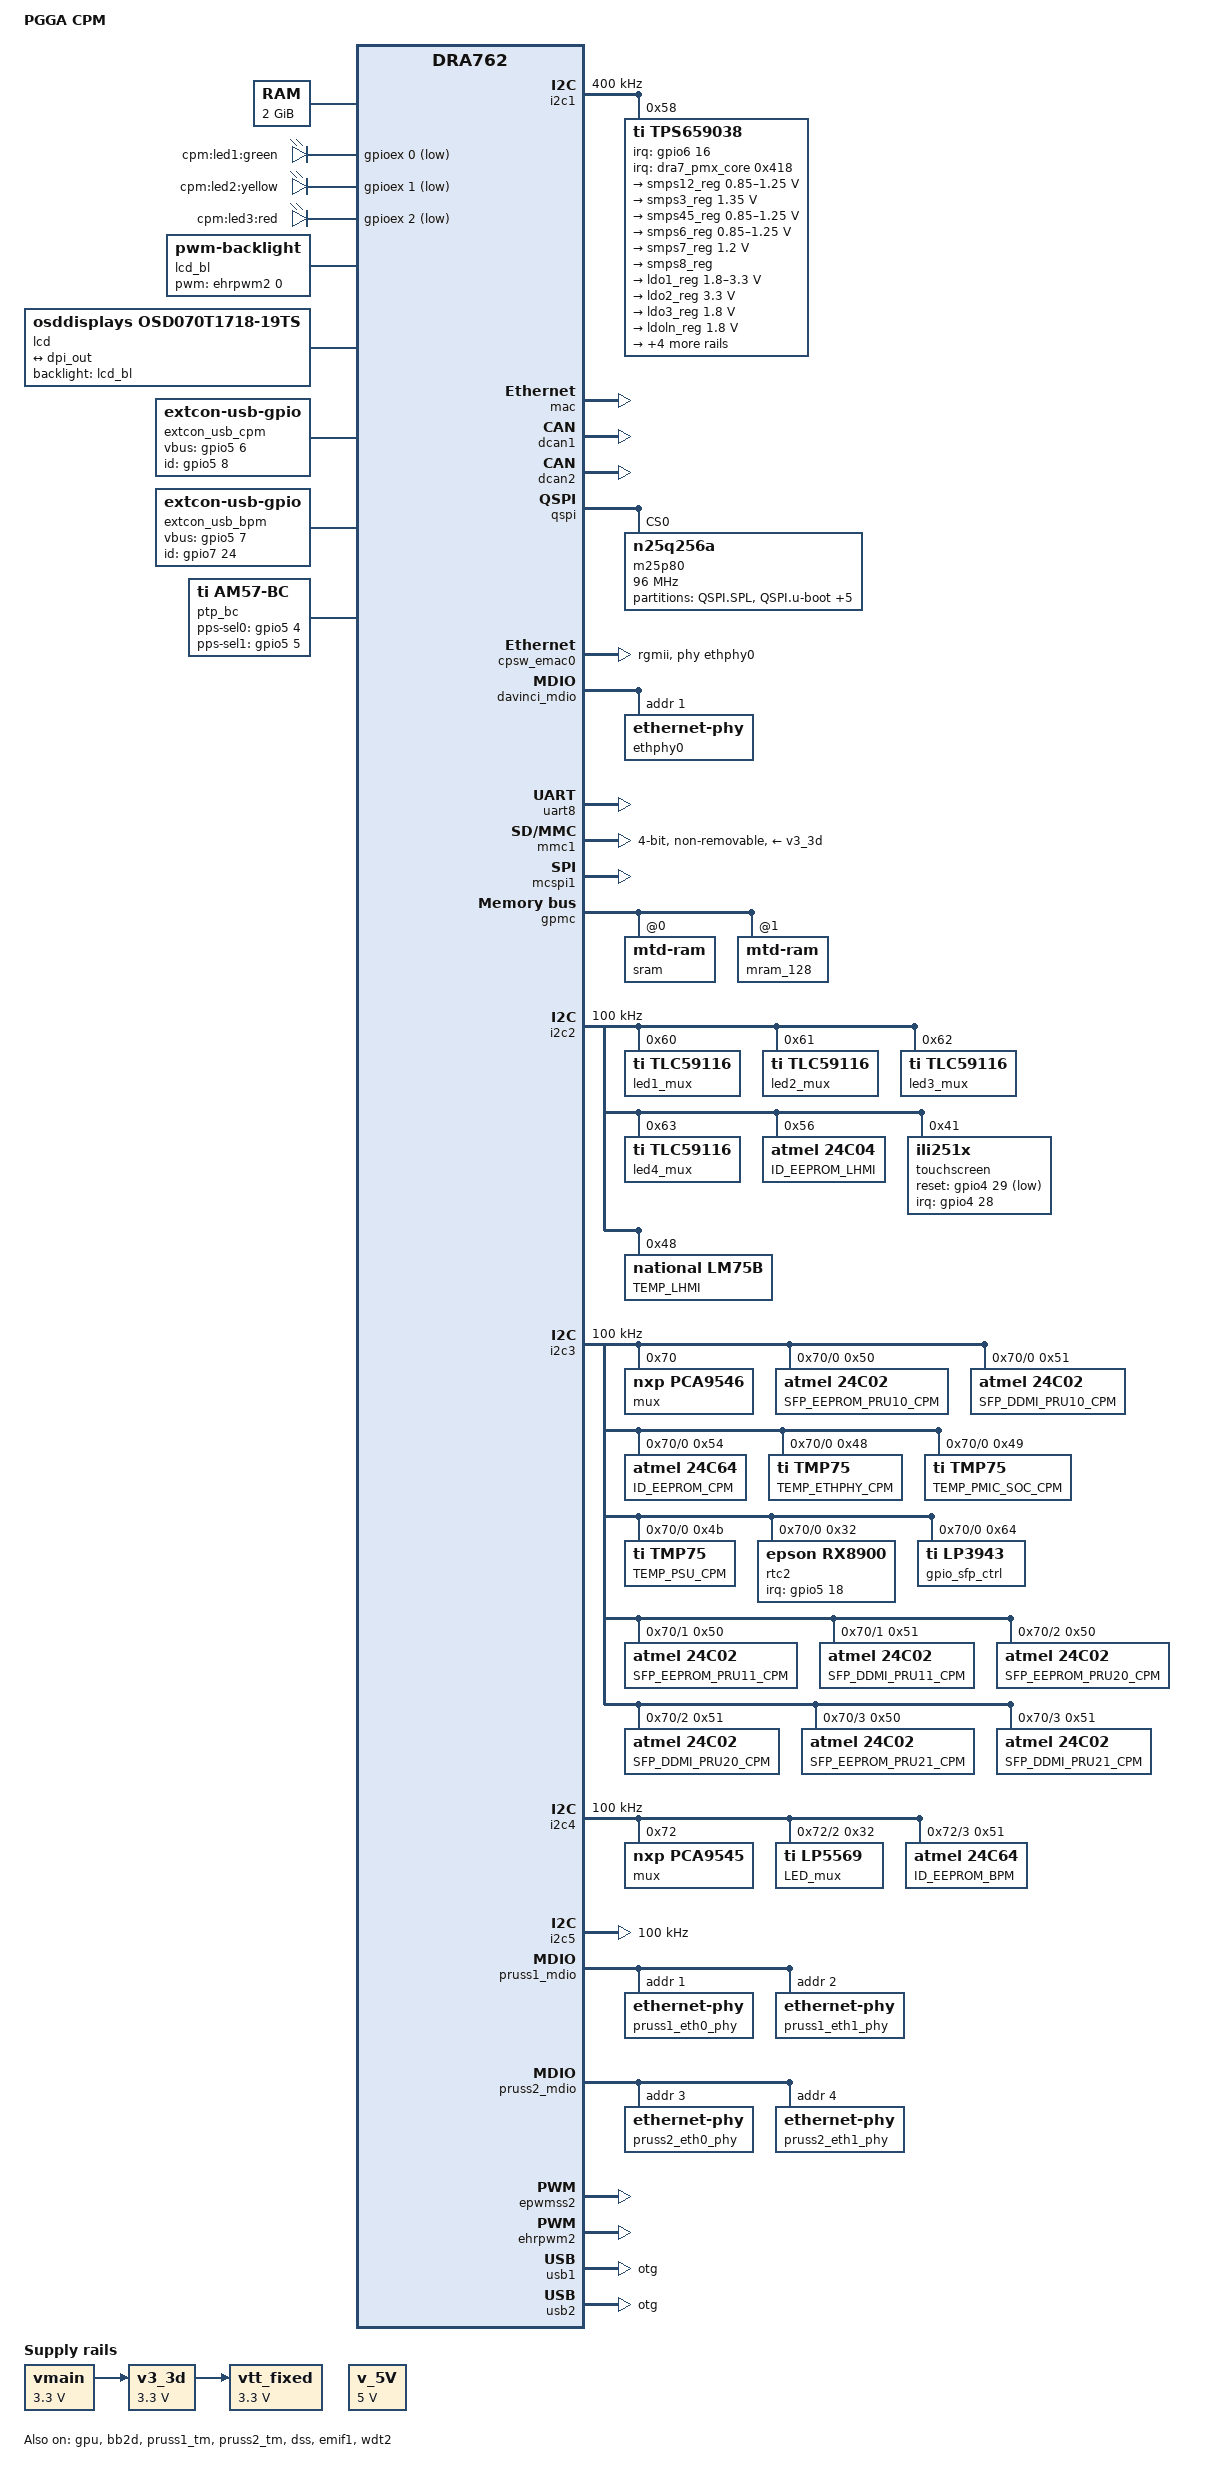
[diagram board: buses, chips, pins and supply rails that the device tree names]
/*
 * Copyright (C) 2015-2016 Texas Instruments Incorporated - http://www.ti.com/
 *
 * This program is free software; you can redistribute it and/or modify
 * it under the terms of the GNU General Public License version 2 as
 * published by the Free Software Foundation.
 */

/dts-v1/;

#include "am5748.dtsi"
#include "dra7-mmc-iodelay.dtsi"
#include "dra74x-mmc-iodelay.dtsi"
#include "dra76x-mmc-iodelay.dtsi"

#include <dt-bindings/gpio/gpio.h>
#include <dt-bindings/interrupt-controller/irq.h>

/* begin of #include "am57xx-idk-common.dtsi" */

/ {
	aliases {
		ethernet1 = &pruss1_emac0;
		ethernet2 = &pruss1_emac1;
		ethernet3 = &pruss2_emac0;
		ethernet4 = &pruss2_emac1;
		rtc2 = &rtc2;
        pruss_iep1 = &pruss1_iep;
        pruss_iep2 = &pruss2_iep;

		tusb_cpm = &tusb_cpm;
		tusb_bpm = &tusb_bpm;
		extcon_usb_cpm = &extcon_usb_cpm;
		extcon_usb_bpm = &extcon_usb_bpm;

	};
	
	chosen {
		stdout-path = &uart8;
	};

	vmain: fixedregulator-vmain {
		compatible = "regulator-fixed";
		regulator-name = "3V3_MAIN";
		regulator-min-microvolt = <3300000>;
		regulator-max-microvolt = <3300000>;
		regulator-always-on;
		regulator-boot-on;
	};

	v_5V: fixedregulator-vmain {
		compatible = "regulator-fixed";
		regulator-name = "5V0_LDO";
		regulator-min-microvolt = <5000000>;
		regulator-max-microvolt = <5000000>;
		regulator-always-on;
		regulator-boot-on;
	};

	v3_3d: fixedregulator-v3_3d {
		compatible = "regulator-fixed";
		regulator-name = "V3_3D";
		vin-supply = <&vmain>;
		regulator-min-microvolt = <3300000>;
		regulator-max-microvolt = <3300000>;
		regulator-always-on;
		regulator-boot-on;
	};

	vtt_fixed: fixedregulator-vtt {
		/* TPS51200 */
		compatible = "regulator-fixed";
		regulator-name = "vtt_fixed";
		vin-supply = <&v3_3d>;
		regulator-min-microvolt = <3300000>;
		regulator-max-microvolt = <3300000>;
		regulator-always-on;
		regulator-boot-on;
	};

	src_clk_x1: src_clk_x1 {
		#clock-cells = <0>;
		compatible = "fixed-clock";
		clock-frequency = <20000000>;
	};

	/* Dual mac ethernet application node on icss1 */
	pruss1_eth: pruss1_eth {
		status = "okay";
		compatible = "ti,am57-prueth";
		prus = <&pru1_0>, <&pru1_1>;
		ti,pruss-gp-mux-sel = <0>,	/* GP, default */
				              <4>;	/* MII2, needed for PRUSS1_MII1 */
		sram = <&ocmcram1>;
		interrupt-parent = <&pruss1_intc>;
		mii-rt = <&pruss1_mii_rt>;
		interrupts = <20>, <21>, <7>;
		interrupt-names = "rx_lre_hp", "rx_lre_lp", "iep_cap_cmp";
		iep = <&pruss1_iep>;
		ecap = <&pruss1_ecap>;

		pruss1_emac0: ethernet-mii0 {
			phy-handle = <&pruss1_eth0_phy>;
			phy-mode = "mii";
			interrupts = <20>, <26>, <23>;
			interrupt-names = "rx", "emac_ptp_tx", "hsr_ptp_tx";
			ti,no-half-duplex;
			/* Filled in by bootloader */
			local-mac-address = [00 00 00 00 00 00];
		};

		pruss1_emac1: ethernet-mii1 {
			phy-handle = <&pruss1_eth1_phy>;
			phy-mode = "mii";
			interrupts = <21>, <27>, <24>;
			interrupt-names = "rx", "emac_ptp_tx", "hsr_ptp_tx";
			ti,no-half-duplex;
			/* Filled in by bootloader */
			local-mac-address = [00 00 00 00 00 00];
		};
	};
	
	/* Dual-MAC Ethernet application node on PRU-ICSS2 */
	pruss2_eth: pruss2_eth {
		status = "okay";
		compatible = "ti,am57-prueth";
		prus = <&pru2_0>, <&pru2_1>;
	    	ti,pruss-gp-mux-sel = <4>,	/* MII2, needed for PRUSS1_MII0 */
			                  <4>;	/* MII2, needed for PRUSS1_MII1 */
		sram = <&ocmcram1>;
		interrupt-parent = <&pruss2_intc>;
		mii-rt = <&pruss2_mii_rt>;
		interrupts = <20>, <21>, <7>;
		interrupt-names = "rx_lre_hp", "rx_lre_lp", "iep_cap_cmp";
		iep = <&pruss2_iep>;
		ecap = <&pruss2_ecap>;

		pruss2_emac0: ethernet-mii0 {
			phy-handle = <&pruss2_eth0_phy>;
			phy-mode = "mii";
			interrupts = <20>, <26>, <23>;
			interrupt-names = "rx", "emac_ptp_tx", "hsr_ptp_tx";
			ti,no-half-duplex;
			/* Filled in by bootloader */
			local-mac-address = [00 00 00 00 00 00];
		};

		pruss2_emac1: ethernet-mii1 {
			phy-handle = <&pruss2_eth1_phy>;
			phy-mode = "mii";
			interrupts = <21>, <27>, <24>;
			interrupt-names = "rx", "emac_ptp_tx", "hsr_ptp_tx";
			ti,no-half-duplex;
			/* Filled in by bootloader */
			local-mac-address = [00 00 00 00 00 00];
		};
	};

	uio_cpu0_wdt: uio_cpu0_wdt@482a0000 {
               compatible = "pg-cpu-wdt";
               reg = <0x0 0x482a0000 0x0 0x1000>;
               interrupts = < GIC_SPI 5 IRQ_TYPE_LEVEL_HIGH >;
               interrupt-parent = <&gic>;
	};

	uio_cpu1_wdt: uio_cpu1_wdt@482a0000 {
               compatible = "pg-cpu-wdt";
               reg = <0x0 0x482a0000 0x0 0x1000>;
               interrupts = < GIC_SPI 6 IRQ_TYPE_LEVEL_HIGH >;
               interrupt-parent = <&gic>;
	};
};

&dra7_pmx_core {
	dcan1_pins_default: dcan1_pins_default {
		pinctrl-single,pins = <
			DRA7XX_CORE_IOPAD(0x37d0, PIN_OUTPUT_PULLUP | MUX_MODE0)	/* dcan1_tx */
			DRA7XX_CORE_IOPAD(0x37d4, PIN_INPUT_PULLUP | MUX_MODE0)		/* dcan1_rx */
		>;
	};

	dcan1_pins_sleep: dcan1_pins_sleep {
		pinctrl-single,pins = <
			DRA7XX_CORE_IOPAD(0x37d0, MUX_MODE15 | PULL_UP)	/* dcan1_tx.off */
			DRA7XX_CORE_IOPAD(0x37d4, MUX_MODE15 | PULL_UP)	/* dcan1_rx.off */
		>;
	};
};

&i2c1 {
	status = "okay";
	clock-frequency = <400000>;

	tps659038: tps659038@58 {
		compatible = "ti,tps659038";
		reg = <0x58>;
		interrupts-extended = <&gpio6 16 IRQ_TYPE_LEVEL_HIGH
			       &dra7_pmx_core 0x418>;
		#interrupt-cells = <2>;
		interrupt-controller;
		ti,system-power-controller;
		ti,palmas-override-powerhold;

		tps659038_pmic {
			compatible = "ti,tps659038-pmic";

			smps12-in-supply = <&vmain>;
			smps3-in-supply = <&vmain>;
			smps45-in-supply = <&vmain>;
			smps6-in-supply = <&vmain>;
			smps7-in-supply = <&vmain>;
			smps8-in-supply = <&vmain>;
			smps9-in-supply = <&vmain>;
			ldo1-in-supply = <&v_5V>;
			ldo2-in-supply = <&v_5V>;
			ldo3-in-supply = <&vmain>;
			ldo4-in-supply = <&vmain>;
			ldo9-in-supply = <&vmain>;
			ldoln-in-supply = <&vmain>;
			ldousb-in-supply = <&v_5V>;
			ldortc-in-supply = <&vmain>;

			regulators {
				smps12_reg: smps12 {
					/* VDD_MPU */
					regulator-name = "smps12";
					regulator-min-microvolt = <850000>;
					regulator-max-microvolt = <1250000>;
					regulator-always-on;
					regulator-boot-on;
				};

				smps3_reg: smps3 {
					/* VDD_DDR EMIF1 EMIF2 */
					regulator-name = "smps3";
					regulator-min-microvolt = <1350000>;
					regulator-max-microvolt = <1350000>;
					regulator-always-on;
					regulator-boot-on;
				};

				smps45_reg: smps45 {
					/* VDD_DSPEVE on AM572 */
					/* VDD_IVA + VDD_DSP on AM571 */
					/* VDD_Mix on CPM */
					regulator-name = "smps45";
					regulator-min-microvolt = <850000>;
					regulator-max-microvolt = <1250000>;
					regulator-always-on;
					regulator-boot-on;
				};

				smps6_reg: smps6 {
					/* VDD_Core on CPM 
					   GPU on IDK */
					regulator-name = "smps6";
					regulator-min-microvolt = <850000>;
					regulator-max-microvolt = <1250000>;
					regulator-always-on;
					regulator-boot-on;
				};

				smps7_reg: smps7 {
					/* GMAC PHY voltage on CPM
					   VDD_CORE on IDK  */
					regulator-name = "smps7";
					regulator-min-microvolt = <1200000>;
					regulator-max-microvolt = <1200000>;
					regulator-always-on;
					regulator-boot-on;
				};

				smps8_reg: smps8 {
					/* 1.8 V on CPM */
					/* 5728 - VDD_IVAHD */
					/* 5718 - N.C. test point */
					regulator-name = "smps8";
				};

				ldo1_reg: ldo1 {
					/* VDDSHV8 - VSDMMC  */
					/* NOTE: on rev 1.3a, data supply */
					regulator-name = "ldo1";
					regulator-min-microvolt = <1800000>;
					regulator-max-microvolt = <3300000>;
					regulator-boot-on;
					regulator-always-on;
				};

				ldo2_reg: ldo2 {
					/* VDDSH18V */
					regulator-name = "ldo2";
					regulator-min-microvolt = <3300000>;
					regulator-max-microvolt = <3300000>;
					regulator-always-on;
					regulator-boot-on;
				};

				ldo3_reg: ldo3 {
					/* R1.3a 572x V1_8PHY_LDO3: USB, SATA */
					regulator-name = "ldo3";
					regulator-min-microvolt = <1800000>;
					regulator-max-microvolt = <1800000>;
					regulator-always-on;
					regulator-boot-on;
				};

				/* LDO4-9 unused */

				ldoln_reg: ldoln {
					/* VDDA_1V8_PLL */
					regulator-name = "ldoln";
					regulator-min-microvolt = <1800000>;
					regulator-max-microvolt = <1800000>;
					regulator-always-on;
					regulator-boot-on;
				};

				ldousb_reg: ldousb {
					/* VDDA_3V_USB: VDDA_USBHS33 */
					regulator-name = "ldousb";
					regulator-min-microvolt = <3300000>;
					regulator-max-microvolt = <3300000>;
					regulator-always-on;
					regulator-boot-on;
				};

				ldortc_reg: ldortc {
					/* VDDA_RTC  */
					regulator-name = "ldortc";
					regulator-min-microvolt = <1800000>;
					regulator-max-microvolt = <1800000>;
					regulator-always-on;
					regulator-boot-on;
				};

				regen1: regen1 {
					/* VDD_3V3_ON */
					regulator-name = "regen1";
					regulator-boot-on;
					regulator-always-on;
				};

				regen2: regen2 {
					/* Needed for PMIC internal resource */
					regulator-name = "regen2";
					regulator-boot-on;
					regulator-always-on;
				};
			};
		};

		tps659038_pwr_button: tps659038_pwr_button {
			compatible = "ti,palmas-pwrbutton";
			interrupt-parent = <&tps659038>;
			interrupts = <1 IRQ_TYPE_EDGE_FALLING>;
			wakeup-source;
			ti,palmas-long-press-seconds = <12>;
		};

		tps659038_gpio: tps659038_gpio {
			compatible = "ti,palmas-gpio";
			gpio-controller;
			#gpio-cells = <2>;
		};
	};
};

&mac {
	status = "okay";
	slaves = <1>;
};

&dcan1 {
	status = "okay";
	pinctrl-names = "default", "sleep", "active";
	pinctrl-0 = <&dcan1_pins_sleep>;
	pinctrl-1 = <&dcan1_pins_sleep>;
	pinctrl-2 = <&dcan1_pins_default>;
};

/* enable CAN controller 2*/
&dcan2 {
	status = "okay";
};

&qspi {
	status = "okay";

	spi-max-frequency = <76800000>;
	m25p80@0 {
		compatible = "n25q256a", "jedec,spi-nor";
		spi-max-frequency = <48000000>;
		reg = <0>;
		spi-tx-bus-width = <1>;
		spi-rx-bus-width = <4>;
		#address-cells = <1>;
		#size-cells = <1>;

		/* MTD partition table.
		 * The ROM checks the first four physical blocks
		 * for a valid file to boot and the flash here is
		 * 64KiB block size.
		 */
		partition@0 {
			label = "QSPI.SPL";
			reg = <0x00000000 0x000040000>;
		};
		partition@1 {
			label = "QSPI.u-boot";
			reg = <0x00040000 0x00100000>;
		};
		partition@2 {
			label = "QSPI.u-boot-spl-os";
			reg = <0x00140000 0x00080000>;
		};
		partition@3 {
			label = "QSPI.u-boot-env";
			reg = <0x001c0000 0x00010000>;
		};
		partition@4 {
			label = "QSPI.u-boot-env.backup1";
			reg = <0x001d0000 0x0010000>;
		};
		partition@5 {
			label = "QSPI.kernel";
			reg = <0x001e0000 0x0800000>;
		};
		partition@6 {
			label = "QSPI.file-system";
			reg = <0x009e0000 0x01620000>;
		};
	};
};

&gpu {
	status = "okay";
};

&bb2d {
	status = "okay";
};


&pruss1_tm {
	status = "okay";
};

&pruss2_tm {
	status = "okay";
};

&cpu0 {
	vdd-supply = <&smps12_reg>;
};

/* end of of #include "am57xx-idk-common.dtsi" */


/* begin of #include "am572x-idk-common.dtsi" */

#include "dra74-ipu-dsp-common.dtsi"

/ {
	memory@0 {
		device_type = "memory";
		reg = <0x0 0x80000000 0x0 0x80000000>;
	};
};

/* end of of #include "am572x-idk-common.dtsi" */


/ {
	model = "PGGA CPM";
	compatible = "ti,am5748", "ti,dra762", "ti,dra7";

	/* CPM status LEDs connected to SFP I/O expander*/
	status_leds {
		compatible = "gpio-leds";
		led-green {
			label = "cpm:led1:green";
			gpios = <&gpioex 0 GPIO_ACTIVE_LOW>;
			default-state = "off";
		};
		led-yellow {
			label = "cpm:led2:yellow";
			gpios = <&gpioex 1 GPIO_ACTIVE_LOW>;
			default-state = "off";
		};
		led-red {
			label = "cpm:led3:red";
			gpios = <&gpioex 2 GPIO_ACTIVE_LOW>;
			default-state = "off";
		};
	};
};

&cpsw_emac0 {
	phy-handle = <&ethphy0>;
	phy-mode = "rgmii";
	/delete-property/ dual_emac_res_vlan;
};

&davinci_mdio {
	ethphy0: ethernet-phy@0 {
		reg = <1>;
	};
};

/delete-node/ &cpsw_emac1;

&uart8 {
	status = "okay";
};

&qspi {
	spi-max-frequency = <96000000>;
	m25p80@0 {
		spi-max-frequency = <96000000>;
	};
};

/* We support only 3V3 modes*/

&mmc1 {
	status = "okay";
	vmmc-supply = <&v3_3d>;
	vqmmc-supply = <&ldo1_reg>;
	bus-width = <4>;
	non-removable;
	disable-wp;
	pinctrl-names = "default", "hs", "sdr104";
	pinctrl-0 = <&mmc1_pins_default_no_clk_pu>;
	pinctrl-1 = <&mmc1_pins_hs>;
	pinctrl-2 = <&mmc1_pins_sdr104 &mmc1_iodelay_sdr104_conf>;
};

&gpio4 { /* makes sure PRST_N stays high*/
	ti,no-reset-on-init;
};

/* SPI for backplane for future enhancement*/
&mcspi1 {
	status = "okay";
	ti,pindir-d0-out-d1-in;
};

/* general purpose memory controller for SRAM and MRAM*/ 
&gpmc {
	status = "okay";

	/* chip select ranges */
	/* <cs-number> 0 <physical address of mapping> <size>*/
	ranges = <0 0  0x01000000   0x200000   /* Chipselect 0, SRAM*/
              	  1 0  0x02000000   0x200000 >; /* Chipselect 1, MRAM*/
	
	sram{
		compatible = "mtd-ram";
		reg = <0 0 0x200000>; /*CSn0, 2MB */
		bank-width = <1>; /* GPMC_CONFIG1_DEVICESIZE(1), 8 bit */
		gpmc,mux-add-data = <0>;/* no muxing GPMC_CONFIG1_MUXTYPE(2) */
		gpmc,cs-on-ns = <3>;
		gpmc,cs-rd-off-ns = <60>; /*tHZCE*/
		gpmc,cs-wr-off-ns = <48>; /*tHZCE*/

		gpmc,we-on-ns = <3>;	/* CONFIG4 */
		gpmc,we-off-ns = <45>;
		gpmc,oe-on-ns = <11>;	/* tLZOE*/
		gpmc,oe-off-ns = <60>; /* tHZOE*/

		gpmc,access-ns = <56>; /* T_AA*/
		gpmc,rd-cycle-ns = <82>; /* T_RC*/
		gpmc,wr-cycle-ns = <52>; /* T_WC*/
	};

	mram_128: mram_128kB{
		compatible = "mtd-ram";
		reg = <1 0 0x20000>;	/*CSn1, 128kb */
		bank-width = <1>;	/* GPMC_CONFIG1_DEVICESIZE(1), 8 bit */
		gpmc,mux-add-data = <0>;	/* no muxing GPMC_CONFIG1_MUXTYPE(2) */

		gpmc,cs-on-ns = <3>;
		gpmc,cs-rd-off-ns = <52>; /*tHZCE*/
		gpmc,cs-wr-off-ns = <30>; /*tHZCE*/

		gpmc,we-on-ns = <3>;	/* CONFIG4 */
		gpmc,we-off-ns = <22>;
		gpmc,oe-on-ns = <11>;	/* tLZOE*/
		gpmc,oe-off-ns = <52>; /* tHZOE*/

		gpmc,access-ns = <48>; /* T_AA*/
		gpmc,rd-cycle-ns = <71>; /* T_RC*/
		gpmc,wr-cycle-ns = <45>; /* T_WC*/
	};
};

/* I2C for backplane: touch screen */
&i2c2 {
	status = "okay";
	clock-frequency = <100000>;

	led1_mux:tlc59116@60 {
		#address-cells = <1>;
		#size-cells = <0>;
		compatible = "ti,tlc59116";
		reg = <0x60>;

		LED1_G@0 {
			label = "lhmi:led1:green";
			reg = <0x0>;
		};
		LED1_B@1 {
			label = "lhmi:led1:blue";
			reg = <0x1>;
		};
		LED1_R@2 {
			label = "lhmi:led1:red";
			reg = <0x2>;
		};

		LED2_G@4 {
			label = "lhmi:led2:green";
			reg = <0x4>;
		};
		LED2_B@5 {
			label = "lhmi:led2:blue";
			reg = <0x5>;
		};
		LED2_R@6 {
			label = "lhmi:led2:red";
			reg = <0x6>;
		};

		LED3_G@8 {
			label = "lhmi:led3:green";
			reg = <0x8>;
		};
		LED3_B@9 {
			label = "lhmi:led3:blue";
			reg = <0x9>;
		};
		LED3_R@A {
			label = "lhmi:led3:red";
			reg = <0xA>;
		};

		LED4_G@C {
			label = "lhmi:led4:green";
			reg = <0xC>;
		};
		LED4_B@D {
			label = "lhmi:led4:blue";
			reg = <0xD>;
		};
		LED4_R@E {
			label = "lhmi:led4:red";
			reg = <0xE>;
		};
	};

	led2_mux:tlc59116@61 {
		#address-cells = <1>;
		#size-cells = <0>;
		compatible = "ti,tlc59116";
		reg = <0x61>;
		LED5_G@0 {
			label = "lhmi:led5:green";
			reg = <0x0>;
		};
		LED5_B@1 {
			label = "lhmi:led5:blue";
			reg = <0x1>;
		};
		LED5_R@2 {
			label = "lhmi:led5:red";
			reg = <0x2>;
		};

		LED6_G@4 {
			label = "lhmi:led6:green";
			reg = <0x4>;
		};
		LED6_B@5 {
			label = "lhmi:led6:blue";
			reg = <0x5>;
		};
		LED6_R@6 {
			label = "lhmi:led6:red";
			reg = <0x6>;
		};

		LED7_G@8 {
			label = "lhmi:led7:green";
			reg = <0x8>;
		};
		LED7_B@9 {
			label = "lhmi:led7:blue";
			reg = <0x9>;
		};
		LED7_R@A {
			label = "lhmi:led7:red";
			reg = <0xA>;
		};

		LED8_G@C {
			label = "lhmi:led8:green";
			reg = <0xC>;
		};
		LED8_B@D {
			label = "lhmi:led8:blue";
			reg = <0xD>;
		};
		LED8_R@E {
			label = "lhmi:led8:red";
			reg = <0xE>;
		};
	};

	led3_mux:tlc59116@62 {
		#address-cells = <1>;
		#size-cells = <0>;
		compatible = "ti,tlc59116";
		reg = <0x62>;

		LED9_G@0 {
			label = "lhmi:led9:green";
			reg = <0x0>;
		};
		LED9_B@1 {
			label = "lhmi:led9:blue";
			reg = <0x1>;
		};
		LED9_R@2 {
			label = "lhmi:led9:red";
			reg = <0x2>;
		};

		LED10_G@4 {
			label = "lhmi:led10:green";
			reg = <0x4>;
		};
		LED10_B@5 {
			label = "lhmi:led10:blue";
			reg = <0x5>;
		};
		LED10_R@6 {
			label = "lhmi:led10:red";
			reg = <0x6>;
		};

		LED11_G@8 {
			label = "lhmi:led11:green";
			reg = <0x8>;
		};
		LED11_B@9 {
			label = "lhmi:led11:blue";
			reg = <0x9>;
		};
		LED11_R@A {
			label = "lhmi:led11:red";
			reg = <0xA>;
		};

		LED12_G@C {
			label = "lhmi:led12:green";
			reg = <0xC>;
		};
		LED12_B@D {
			label = "lhmi:led12:blue";
			reg = <0xD>;
		};
		LED12_R@E {
			label = "lhmi:led12:red";
			reg = <0xE>;
		};
	};

	led4_mux:tlc59116@63 {
		#address-cells = <1>;
		#size-cells = <0>;
		compatible = "ti,tlc59116";
		reg = <0x63>;

		LED13_G@0 {
			label = "lhmi:led13:green";
			reg = <0x0>;
		};
		LED13_B@1 {
			label = "lhmi:led13:blue";
			reg = <0x1>;
		};
		LED13_R@2 {
			label = "lhmi:led13:red";
			reg = <0x2>;
		};

		LED14_G@4 {
			label = "lhmi:led14:green";
			reg = <0x4>;
		};
		LED14_B@5 {
			label = "lhmi:led14:blue";
			reg = <0x5>;
		};
		LED14_R@6 {
			label = "lhmi:led14:red";
			reg = <0x6>;
		};

		LED15_G@8 {
			label = "lhmi:led15:green";
			reg = <0x8>;
		};
		LED15_B@9 {
			label = "lhmi:led15:blue";
			reg = <0x9>;
		};
		LED15_R@A {
			label = "lhmi:led15:red";
			reg = <0xA>;
		};
	};

	id_eeprom_lhmi:id_eeprom_lhmi@56 {
		compatible = "atmel,24c04";
		label = "ID_EEPROM_LHMI";
		reg = <0x56>;
		pagesize = <16>;
	};

	touchscreen: ili251x@41 {
		status = "okay";
		compatible = "ili251x";

		reg = <0x41>;

		reset-gpios = <&gpio4 29 GPIO_ACTIVE_LOW>;

		interrupt-parent = <&gpio4>;
		interrupts = <28 IRQ_TYPE_EDGE_FALLING>;

		touchscreen-size-x = <1024>;
		touchscreen-size-y = <600>;

		max-fingers = <6>;
	};

	/*Temperature sensor*/
	LM75B_LHMI@48 {
		compatible = "national,lm75b";
		label = "TEMP_LHMI";
		reg = <0x48>;
	};
};

/* CPM peripherals */
&i2c3 {
	status = "okay";
	clock-frequency = <100000>;
			
	/* TUSB320 USB-C power delivery chip: no driver needed: direct access via I2C from user space*/
	tusb_cpm: tusb_cpm@61 {
			reg = <0x61>;
			compatible = "dummy";
			label = "USB_POWERCHIP_CPM";
	};			

	/* i2c mux PCA9546 */	
	mux@70 {
		compatible = "nxp,pca9546";
		reg = <0x70>;
		#address-cells = <1>;
		#size-cells = <0>;

		i2c_cpm_0:i2c@0 {
			reg = <0>;
			#address-cells = <1>;
			#size-cells = <0>;
			label = "i2c_cpm_0_L";

			sfp_eeprom@50 {
				compatible = "atmel,24c02";
				label = "SFP_EEPROM_PRU10_CPM";
				reg = <0x50>;
			};

			sfp_ddmi10:sfp_ddmi@51 {
				compatible = "atmel,24c02";
				label = "SFP_DDMI_PRU10_CPM";
				reg = <0x51>;
			};

			id_eeprom_cpm:id_eeprom_cpm@54 {
				compatible = "atmel,24c64";
				label = "ID_EEPROM_CPM";
				reg = <0x54>;
				pagesize = <32>;
			};

			/* crypto chip: no driver needed: direct access via I2C from user space */
			crypto_cpm:crypto_cpm@60 {
				reg = <0x60>;
				compatible = "dummy";
				label = "CRYPTO_CHIP_CPM";
			};			
		
			/*Temperature sensor A2001*/
			TMP75_A2001@48 {
				compatible = "ti,tmp75";
				reg = <0x48>;
				label = "TEMP_ETHPHY_CPM";
			};
			/*Temperature sensor A2003*/
			TMP75_A2003@49 {
				compatible = "ti,tmp75";
				label = "TEMP_PMIC_SOC_CPM";
				reg = <0x49>;
			};
			/*Temperature sensor A2006*/
			TMP75_A2006@4b {
				compatible = "ti,tmp75";
				label = "TEMP_PSU_CPM";
				reg = <0x4b>;
			};

			rtc2: RTC_A2002@32 {
				compatible = "epson,rx8900";
				reg = <0x32>;
				interrupt-parent = <&gpio5>;
				interrupts = < 18 IRQ_TYPE_EDGE_FALLING >; /*check level*/
			};
	
			/* LED driver for SFP control and status LEDs*/
			gpio_sfp_ctrl: gpio_sfp_control@64 {
				compatible = "ti,lp3943";
				reg = <0x64>;

				gpioex: gpio {
					compatible = "ti,lp3943-gpio";
					gpio-controller;
					#gpio-cells = <2>;
				};
				
				pwm3943: pwm {
					compatible = "ti,lp3943-pwm";
					#pwm-cells = <2>;
					ti,pwm0 = <0 1 2>;
				};
			};
			
		};
		i2c_cpm_1:i2c@1 {
			reg = <1>;
			#address-cells = <1>;
			#size-cells = <0>;

			sfp_eeprom@50 {
				compatible = "atmel,24c02";
				label = "SFP_EEPROM_PRU11_CPM";
				reg = <0x50>;
			};
			sfp_ddmi@51 {
				compatible = "atmel,24c02";
				label = "SFP_DDMI_PRU11_CPM";
				reg = <0x51>;
			};
		};
		i2c_cpm_2:i2c@2 {
			reg = <2>;
			#address-cells = <1>;
			#size-cells = <0>;

			sfp_eeprom@50 {
				compatible = "atmel,24c02";
				label = "SFP_EEPROM_PRU20_CPM";
				reg = <0x50>;
			};
			sfp_ddmi@51 {
				compatible = "atmel,24c02";
				label = "SFP_DDMI_PRU20_CPM";
				reg = <0x51>;
			};
		};
		i2c_cpm_3:i2c@3 {
			reg = <3>;
			#address-cells = <1>;
			#size-cells = <0>;

			sfp_eeprom@50 {
				compatible = "atmel,24c02";
				label = "SFP_EEPROM_PRU21_CPM";
				reg = <0x50>;
			};
			sfp_ddmi@51 {
				compatible = "atmel,24c02";
				label = "SFP_DDMI_PRU21_CPM";
				reg = <0x51>;
			};
		};
	};
};
	
/* I2C for BPM */
&i2c4 {
	status = "okay";
	clock-frequency = <100000>;
		
	/* I2c mux pca9546 */	
	mux@72 {
		/* On the BPM we use the pca9546 but the attribute definition for the pca9546 is missing in the driver of the kernel 4.9. So we 
		   use pca9545 which has the same attributes*/
		compatible = "nxp,pca9545";
		reg = <0x72>;
		#address-cells = <1>;
		#size-cells = <0>;

		i2c_bpm_0: i2c@0 {
			reg = <0>;
			#address-cells = <1>;
			#size-cells = <0>;

			swi1_smgt@5f {
				compatible = "dummy";
				reg = <0x5f>;
				label = "ETH_SWITCH_1_BPM";
				status = "okay";
			}; 
		};
		i2c_bpm_1: i2c@1 {
			reg = <1>;
			#address-cells = <1>;
			#size-cells = <0>;

			swi2_smgt@5f {
				compatible = "dummy";
				reg = <0x5f>;
				label = "ETH_SWITCH_2_BPM";
				status = "okay";
			};
		};
		i2c_bpm_2: i2c@2 {
			reg = <2>;
			#address-cells = <1>;
			#size-cells = <0>;
			LED_mux@32 {
				compatible = "ti,lp5569";
				reg = <0x32>;
				status = "okay";
				clock-mode = /bits/8 <1>;

				chan0 {
					chan-name = "bpm:led3:red";
					led-cur = /bits/ 8 <0x20>;
					max-cur = /bits/ 8 <0x60>;
				};
				chan1 {
					chan-name = "bpm:led3:blue";
					led-cur = /bits/ 8 <0x20>;
					max-cur = /bits/ 8 <0x60>;
				};
				chan2 {
					chan-name = "bpm:led3:green";
					led-cur = /bits/ 8 <0x20>;
					max-cur = /bits/ 8 <0x60>;
				};
				chan3 {
					chan-name = "bpm:led1:red";
					led-cur = /bits/ 8 <0x20>;
					max-cur = /bits/ 8 <0x60>;
				};
				chan4 {
					chan-name = "bpm:led1:blue";
					led-cur = /bits/ 8 <0x20>;
					max-cur = /bits/ 8 <0x60>;
				};
				chan5 {
					chan-name = "bpm:led1:green";
					led-cur = /bits/ 8 <0x20>;
					max-cur = /bits/ 8 <0x60>;
				};
				chan6 {
					chan-name = "bpm:led2:red";
					led-cur = /bits/ 8 <0x20>;
					max-cur = /bits/ 8 <0x60>;
				};
				chan7 {
					chan-name = "bpm:led2:blue";
					led-cur = /bits/ 8 <0x20>;
					max-cur = /bits/ 8 <0x60>;
				};
				chan8 {
					chan-name = "bpm:led2:green";
					led-cur = /bits/ 8 <0x20>;
					max-cur = /bits/ 8 <0x60>;
				};					
			};
		};
		i2c_bpm_3:i2c@3 {
			reg = <3>;
			#address-cells = <1>;
			#size-cells = <0>;

			id_eeprom_bpm@51 {
				compatible = "atmel,24c64";
				reg = <0x51>;
				label = "ID_EEPROM_BPM";
				pagesize = <32>;
			};

			/* TUSB320 USB-C power delivery chip: no driver needed: direct access via I2C from user space*/
			tusb_bpm: tusb_bpm@61 {
				label = "USB_POWERCHIP_BPM";
				compatible = "dummy";
				reg = <0x61>;
				};			
			
			/* crypto chip: no driver needed: direct access via I2C from user space */
			crypto_bpm:crypto_bpm@60 {
				reg = <0x60>;
				compatible = "dummy";
				label = "CRYPTO_CHIP_BPM";
			};			
			swi3_smgt@5f {
				compatible = "dummy";
				reg = <0x5f>;
				label = "ETH_SWITCH_3_BPM";
				status = "okay";
			};
		};
	};
};

/* I2C5 for LHMI */
&i2c5 {
	status = "okay";
	clock-frequency = <100000>;
};

&pruss1_mdio {
	status = "okay";
	pruss1_eth0_phy: ethernet-phy@0 {
		reg = <1>;
		ti,link-loss-low;
		ti,fiber-mode;
	};

	pruss1_eth1_phy: ethernet-phy@1 {
		reg = <2>;
		ti,link-loss-low;
		ti,fiber-mode;
	};
};

/*CPM's pruss2_eth1_phy has GPIO different from IDK571*/
&pruss2_mdio {
	status = "okay";
	pruss2_eth0_phy: ethernet-phy@0 {
		reg = <3>;
		ti,link-loss-low;
		ti,fiber-mode;
	};

	pruss2_eth1_phy: ethernet-phy@1 {
		reg = <4>;
		ti,link-loss-low;
		ti,fiber-mode;
	};
};

/* LHMI */

/ {
	aliases {
		display0 = &lcd;
	};

	lcd_bl: backlight {
		compatible = "pwm-backlight";
		pwms = <&ehrpwm2 0 100000 0>;
		/* in %:             0 10 20 30 40  50  60  70  80*/
		brightness-levels = <0 25 50 76 101 128 153 179 204>;
		default-brightness-level = <8>;
	};

	lcd: display {
		compatible = "osddisplays,osd070t1718-19ts";
		status = "okay";

		backlight = <&lcd_bl>;
		label = "lcd";

		port {
			lcd_in: endpoint {
				remote-endpoint = <&dpi_out>;
			};
		};
	};
};

&epwmss2 {
	status = "okay";
};

&ehrpwm2 {
	status = "okay";
};

&dss {
	status = "okay";

	vdda_video-supply = <&ldoln_reg>;

	ports {
		#address-cells = <1>;
		#size-cells = <0>;
		port@2 {
			reg = <2>;

			dpi_out: endpoint {
				remote-endpoint = <&lcd_in>;
				data-lines = <24>;
			};
		};
	};
};

&emif1 {
	status = "okay";
};

/* USB related */

&usb2_phy1 {
	phy-supply = <&ldousb_reg>;
};

&usb2_phy2 {
	phy-supply = <&ldousb_reg>;
};

&usb1 {
	dr_mode = "otg";
};

&usb2 {
	dr_mode = "otg";
};

/ {
	extcon_usb_cpm: extcon_usb_cpm {
		compatible = "linux,extcon-usb-gpio";
		vbus-gpios = <&gpio5 6 GPIO_ACTIVE_HIGH>;
		id-gpios = <&gpio5 8 GPIO_ACTIVE_HIGH>;
	};

	extcon_usb_bpm: extcon_usb_bpm {
		compatible = "linux,extcon-usb-gpio";
		vbus-gpios = <&gpio5 7 GPIO_ACTIVE_HIGH>;
		id-gpios = <&gpio7 24 GPIO_ACTIVE_HIGH>;
	};
};

&omap_dwc3_1 {
 extcon = <&extcon_usb_cpm>;
};

&omap_dwc3_2 {
 extcon = <&extcon_usb_bpm>;
};

/* PTP BC related */
/{
	ptp_bc: ptp_bc {
		compatible = "ti,am57-bc";
		pps-sel0-gpios = <&gpio5 4 GPIO_ACTIVE_HIGH>;
		pps-sel1-gpios = <&gpio5 5 GPIO_ACTIVE_HIGH>;
		status = "okay";
	};
};

&mac {
	/* cptr pps1 generator and latch properties */
	pps_timer = <&timer16>;
	latch_timer = <&timer15>;
	pinctrl-names = "pwm_off", "pwm_on",
			"latch_on", "latch_off";
	pinctrl-0 = <&pps1_timer16_pwm_off>;
	pinctrl-1 = <&pps1_timer16_pwm_on>;
	pinctrl-2 = <&pps1_timer15_latch_on>;
	pinctrl-3 = <&pps1_timer15_latch_off>;

	pps-enable-gpios = <&gpio7 25 GPIO_ACTIVE_HIGH>;

    assigned-clocks = <&l4per3_clkctrl DRA7_L4PER3_TIMER16_CLKCTRL 24>, <&l4per3_clkctrl DRA7_L4PER3_TIMER15_CLKCTRL 24>;
    assigned-clock-parents = <&abe_giclk_div>, <&abe_giclk_div>;
};

&dpll_abe_ck {
	assigned-clocks = <&dpll_abe_ck>;
	assigned-clock-rates = <50000000>;
};

&pruss1_iep {
	pinctrl-names = "sync0_off", "sync0_on", "latch0_off", "latch0_on";
	pinctrl-0 = <&pr1_edc_sync0_off>;
	pinctrl-1 = <&pr1_edc_sync0_on>;
	pinctrl-2 = <&pr1_edc_latch0_off>;
	pinctrl-3 = <&pr1_edc_latch0_on>;
};

&pruss2_iep {
	pinctrl-names = "sync0_off", "sync0_on", "latch0_off", "latch0_on";
	pinctrl-0 = <&pr2_edc_sync0_off>;
	pinctrl-1 = <&pr2_edc_sync0_on>;
	pinctrl-2 = <&pr2_edc_latch0_off>;
	pinctrl-3 = <&pr2_edc_latch0_on>;
};

/* PTP Boundary clock related signals*/
&dra7_pmx_core {

	pps1_timer16_pwm_on: pps1_timer16_pwm_on {
		pinctrl-single,pins = <
			DRA7XX_CORE_IOPAD(0x36a0, PIN_OUTPUT | MUX_MODE10)
		>;
	};

	pps1_timer16_pwm_off: pps1_timer16_pwm_off {
		pinctrl-single,pins = <
			DRA7XX_CORE_IOPAD(0x36a0, PIN_OUTPUT | MUX_MODE15)
		>;
	};

	pps1_timer15_latch_on: pps1_timer15_latch_on {
		pinctrl-single,pins = <
			DRA7XX_CORE_IOPAD(0x369C, PIN_INPUT | MUX_MODE10)
		>;
	};

	pps1_timer15_latch_off: pps1_timer15_latch_off {
		pinctrl-single,pins = <
			DRA7XX_CORE_IOPAD(0x369C, PIN_INPUT | MUX_MODE15)
		>;
	};

	pr1_edc_sync0_on: pr1_edc_sync0_on {
		pinctrl-single,pins = <
			DRA7XX_CORE_IOPAD(0x3724, PIN_OUTPUT | MUX_MODE13)
		>;
	};

	pr1_edc_sync0_off: pr1_edc_sync0_off {
		pinctrl-single,pins = <
			DRA7XX_CORE_IOPAD(0x3724, PIN_OUTPUT | MUX_MODE15)
		>;
	};

	pr1_edc_latch0_on: pr1_edc_latch0_on {
		pinctrl-single,pins = <
			DRA7XX_CORE_IOPAD(0x3694, PIN_INPUT | MUX_MODE12)
		>;
	};

	pr1_edc_latch0_off: pr1_edc_latch0_off {
		pinctrl-single,pins = <
			DRA7XX_CORE_IOPAD(0x3694, PIN_INPUT | MUX_MODE15)
		>;
	};

	pr2_edc_sync0_on: pr2_edc_sync0_on {
		pinctrl-single,pins = <
			DRA7XX_CORE_IOPAD(0x3728, PIN_OUTPUT | MUX_MODE13)
		>;
	};

	pr2_edc_sync0_off: pr2_edc_sync0_off {
		pinctrl-single,pins = <
			DRA7XX_CORE_IOPAD(0x3728, PIN_OUTPUT | MUX_MODE15)
		>;
	};

	pr2_edc_latch0_on: pr2_edc_latch0_on {
		pinctrl-single,pins = <
			DRA7XX_CORE_IOPAD(0x3698, PIN_INPUT | MUX_MODE12)
		>;
	};

	pr2_edc_latch0_off: pr2_edc_latch0_off {
		pinctrl-single,pins = <
			DRA7XX_CORE_IOPAD(0x3698, PIN_INPUT | MUX_MODE15)
		>;
	};
};

/*GPIO symbolic name definitions*/

&gpio1 {
/*                    0  1  2  3  4      5 */
    gpio-line-names = "","","","","SID4","SID5";
};

&gpio2 {
/*                    0  1  2  3  4  5  6  7  8  9  10 11 12 13 14 15 16     17     18 19 20 21 22 23 24 25 26 27 28 29     30  31 */
    gpio-line-names = "","","","","","","","","","","","","","","","","SID0","SID1","","","","","","","","","","","","SID2","","PS_FAIL_N";
};

&gpio4 {
/*                    0  1  2  3  4  5  6  7  8  9  10 11 12  13             14 15 16 17 18 19 20 21 22 23 24 25 26           27 28 29 30*/
    gpio-line-names = "","","","","","","","","","","","","","USB1_CC_INT_N","","","","","","","","","","","","","CAN_SILENT","","","","LHMI_DISP_BLEN";
};

&gpio5 {
/*                    0  1  2  3  4  5  6  7  8  9                   10 11 12 13 14 15 16 17 18 19*/
    gpio-line-names = "","","","","","","","","","USB1_INT_VBUS_DET","","","","","","","","","","USB2_CC_INT_N";
};

&gpio6 {
/*                    0  1  2  3  4  5  6  7  8   9  */
    gpio-line-names = "","","","","","","","","","USB2_INT_VBUS_DET";
};

&gpio7 {
/*                    0  1  2  3  4  5  6  7  8  9  10 11               12 13  14      15             16*/
    gpio-line-names = "","","","","","","","","","","","GPIO_TRANSC_OE","","", "SID3", "INT_FAULT_N", "INT_FAULT_SET";
};

&gpioex {
/*                    0  1  2  3                    4                 5  */
    gpio-line-names = "","","","ETH10_SFP_DISABLE","ETH10_SFP_DETECT","","ETH11_SFP_DISABLE","ETH11_SFP_DETECT","","ETH20_SFP_DISABLE","ETH20_SFP_DETECT","","ETH21_SFP_DISABLE","ETH21_SFP_DETECT";
};


&cpu_crit {
	temperature = <135000>; /* milliCelsius */
};

&gpu_crit {
	temperature = <135000>; /* milliCelsius */
};

&core_crit {
	temperature = <135000>; /* milliCelsius */
};

&dspeve_crit {
	temperature = <135000>; /* milliCelsius */
};

&iva_crit {
	temperature = <135000>; /* milliCelsius */
};

&wdt2 {
	status = "okay";
};
